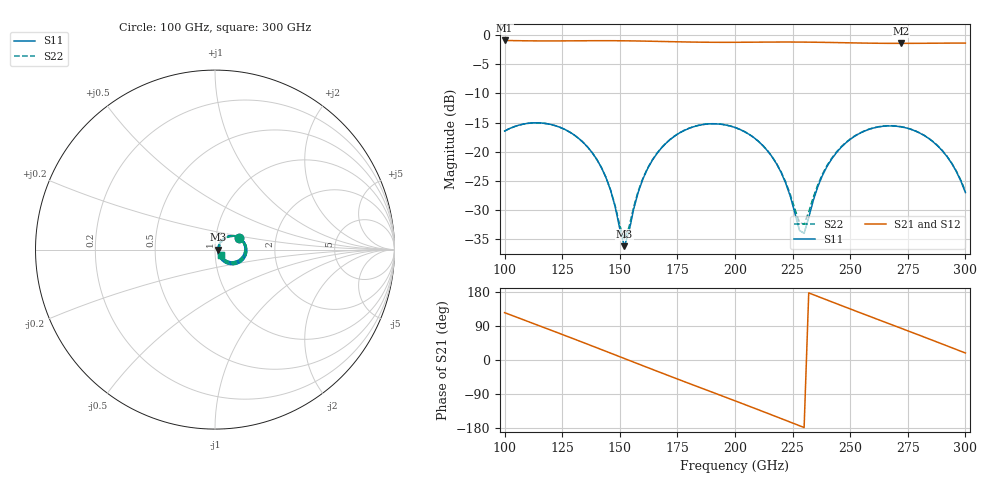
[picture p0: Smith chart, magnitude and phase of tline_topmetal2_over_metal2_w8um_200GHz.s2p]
#  GHZ S DB R 50
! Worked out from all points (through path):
!   101 points, 100 GHz to 300 GHz, reference 50 ohm
!   highest |S21| = -0.89 dB at 100 GHz (marker M1); lowest = -1.4 dB at 272 GHz (marker M2)
!   group delay of S21, straight-line fit = 6.48 ps
!   lowest |S11| = -36.2 dB at 152 GHz (marker M3), VSWR 1.03, Z = 51.6 - j0.124 ohm
!   |S11| at or under -10 dB: start of sweep to end of sweep
!   |S22| runs from -35.1 to -15.0 dB; largest |S21 - S12| = 1e-13
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100  -16.45 25.6  -0.89 125.0  -0.89 125.0  -16.45 25.8
116  -15.07 -7.4  -0.97 88.2  -0.97 88.2  -15.07 -7.0
134  -18.36 -43.9  -0.95 46.4  -0.95 46.4  -18.36 -42.9
144  -24.44 -58.6  -0.93 22.9  -0.93 22.9  -24.40 -56.4
152  -36.22 -4.5  -0.95 3.9  -0.95 3.9  -35.05 -2.9
160  -24.72 55.3  -1.00 -15.0  -1.00 -15.0  -24.58 53.5
168  -19.39 44.8  -1.06 -33.8  -1.06 -33.8  -19.35 44.0
184  -15.50 13.4  -1.18 -70.9  -1.18 -70.9  -15.48 13.4
200  -15.84 -19.2  -1.21 -107.7  -1.21 -107.7  -15.83 -18.7
210  -18.16 -38.6  -1.18 -131.0  -1.18 -131.0  -18.15 -37.4
218  -22.06 -51.0  -1.16 -149.8  -1.16 -149.8  -22.00 -48.7
224  -27.67 -50.7  -1.16 -163.9  -1.16 -163.9  -27.34 -46.2
228  -33.52 -21.8  -1.17 -173.4  -1.17 -173.4  -32.19 -17.3
230  -34.02 13.7  -1.18 -178.2  -1.18 -178.2  -32.45 12.0
234  -28.35 49.3  -1.19 172.4  -1.19 172.4  -27.80 44.6
240  -22.50 51.4  -1.23 158.2  -1.23 158.2  -22.33 48.4
248  -18.52 39.5  -1.29 139.4  -1.29 139.4  -18.44 37.7
258  -16.18 20.5  -1.35 116.2  -1.35 116.2  -16.14 19.3
268  -15.57 0.5  -1.39 93.2  -1.39 93.2  -15.54 -0.2
272  -15.72 -7.5  -1.39 83.9  -1.39 83.9  -15.70 -8.1
288  -19.01 -37.4  -1.36 46.7  -1.36 46.7  -18.98 -37.3
300  -27.01 -44.2  -1.34 18.4  -1.34 18.4  -26.80 -42.5
